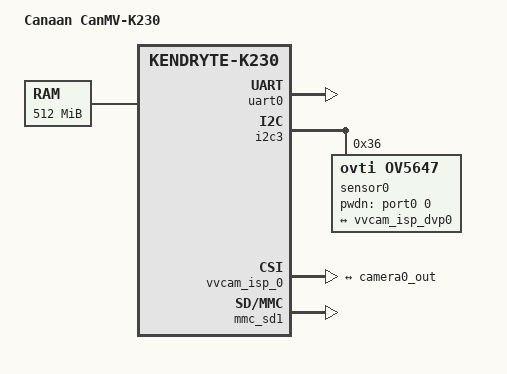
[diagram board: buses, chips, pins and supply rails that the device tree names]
// SPDX-License-Identifier: GPL-2.0 OR MIT
/*
 * Copyright (C) 2024 Yangyu Chen <cyy@cyyself.name>
 */

#include "k230.dtsi"

/ {
	model = "Canaan CanMV-K230";
	compatible = "canaan,canmv-k230", "canaan,kendryte-k230";

	chosen {
		stdout-path = "serial0:115200n8";
	};

	ddr: memory@0 {
		device_type = "memory";
		reg = <0x0 0x0 0x0 0x20000000>;
	};

	sound {
		status                      = "okay";
		compatible                  = "canaan,k230-audio-inno";
		canaan,model                = "CANAAN_K230_I2S_INNO";
		canaan,k230-i2s-controller  = <&i2s>;
		canaan,k230-audio-codec     = <&inno_codec>;
	};
};

&uart0 {
	status = "okay";
};

&i2c3 {
	status = "okay";

	sensor0: ov5647@36 {
		compatible = "ovti,ov5647";
		reg = <0x36>;
		clocks = <&sensor_mclk0>;
		pwdn-gpios = <&port0 0 GPIO_ACTIVE_HIGH>;

		port {
			camera0_out: endpoint {
				remote-endpoint = <&vvcam_isp_dvp0>;
			};
		};
	};
};

&vvcam_isp_0 {
	ports {
		port@0 {
			reg = <0>;
			vvcam_isp_dvp0: endpoint {
				remote-endpoint = <&camera0_out>;
			};
		};
	};
};

&gpio0 {
	status = "okay";
};

&gpio9 {
	status = "okay";
};

&gpio31 {
	status = "okay";
};
&mmc_sd1{
    status = "okay";
    no-1-8-v;
    cap-sd-highspeed;
    mshc_ctrl_r = <0x00>;
};
